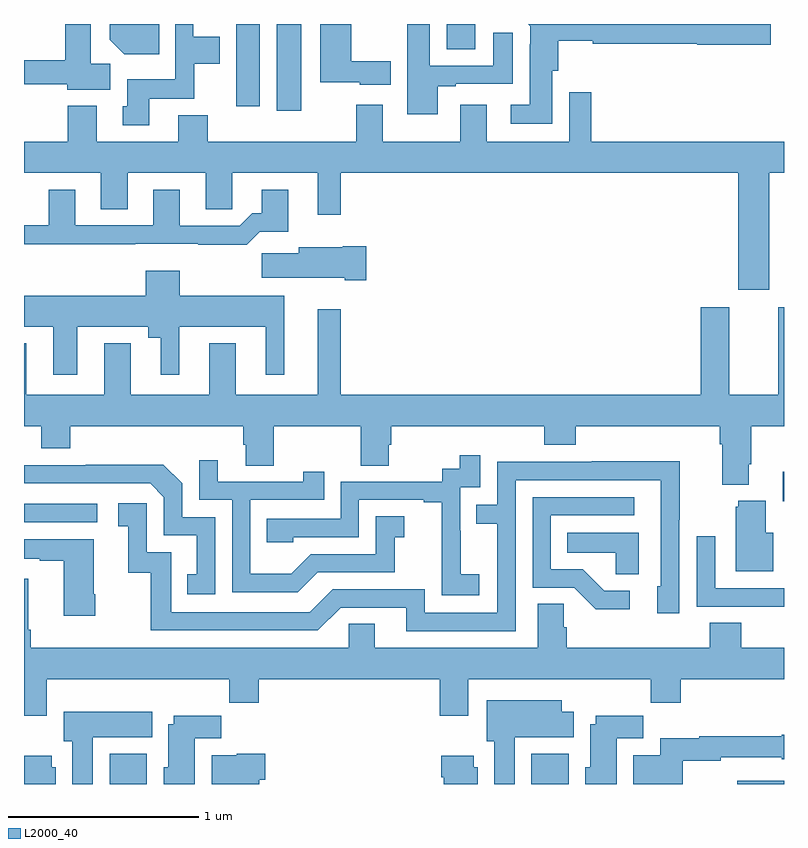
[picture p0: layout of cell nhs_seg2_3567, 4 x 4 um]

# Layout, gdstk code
import gdstk
lib = gdstk.Library(unit=1e-6, precision=1e-09)
def R(c, l, rs):  # rectangles x0, y0, x1, y1
    for r in rs: c.add(gdstk.rectangle(r[:2], r[2:], *l))
def P(c, l, *ps):  # polygons
    for p in ps: c.add(gdstk.Polygon(p, *l))
L2000_40 = (2000, 40)

nhs_seg2_3567 = lib.new_cell('nhs_seg2_3567')
R(nhs_seg2_3567, L2000_40, [(299.45,597.8,299.647,597.958), (301.671,597.8,301.867,597.958), (302.755,597.8,303,597.816), (299,599.178,299.386,599.274), (302.993,599.287,303,599.443), (300.329,601.344,300.46,601.8), (300.116,601.368,300.241,601.8), (301.226,601.666,301.375,601.8)])
P(nhs_seg2_3567, L2000_40, [(299.455,601.592),(299.35,601.592),(299.35,601.8),(299.216,601.8),(299.216,601.61),(299,601.61),(299,601.482),(299.228,601.482),(299.228,601.454),(299.455,601.454)],
  [(299.659,601.406),(299.895,601.406),(299.895,601.592),(300.031,601.592),(300.031,601.732),(299.892,601.732),(299.892,601.8),(299.796,601.8),(299.796,601.51),(299.543,601.51),(299.543,601.368),(299.519,601.368),(299.519,601.266),(299.659,601.266)],
  [(301.177,601.473),(301.273,601.473),(301.273,601.485),(301.573,601.485),(301.573,601.753),(301.469,601.753),(301.469,601.581),(301.135,601.581),(301.135,601.8),(301.016,601.8),(301.016,601.326),(301.177,601.326)],
  [(301.78,601.554),(301.811,601.554),(301.811,601.711),(301.994,601.711),(301.994,601.696),(302.544,601.696),(302.544,601.691),(302.929,601.691),(302.929,601.8),(301.653,601.8),(301.665,601.788),(301.665,601.694),(301.661,601.694),(301.661,601.375),(301.563,601.375),(301.563,601.274),(301.78,601.274)],
  [(299.711,601.8),(299.45,601.8),(299.45,601.718),(299.528,601.64),(299.711,601.64)],
  [(300.931,601.603),(300.722,601.603),(300.722,601.8),(300.56,601.8),(300.56,601.493),(300.768,601.493),(300.768,601.481),(300.931,601.481)],
  [(299.405,600.826),(299.545,600.826),(299.545,601.016),(299.957,601.016),(299.957,600.826),(300.096,600.826),(300.096,601.016),(300.545,601.016),(300.545,600.795),(300.667,600.795),(300.667,601.016),(302.759,601.016),(302.759,600.402),(302.923,600.402),(302.923,601.016),(303,601.016),(303,601.18),(301.985,601.18),(301.985,601.441),(301.869,601.441),(301.869,601.18),(301.435,601.18),(301.435,601.375),(301.295,601.375),(301.295,601.18),(300.889,601.18),(300.889,601.375),(300.749,601.375),(300.749,601.18),(299.966,601.18),(299.966,601.321),(299.813,601.321),(299.813,601.18),(299.383,601.18),(299.383,601.369),(299.231,601.369),(299.231,601.18),(299,601.18),(299,601.016),(299.405,601.016)],
  [(300.242,600.707),(300.391,600.707),(300.391,600.928),(300.251,600.928),(300.251,600.805),(300.202,600.805),(300.135,600.738),(299.821,600.738),(299.821,600.928),(299.681,600.928),(299.681,600.741),(299.269,600.741),(299.269,600.928),(299.129,600.928),(299.129,600.741),(299,600.741),(299,600.64),(299.585,600.64),(299.585,600.644),(299.917,600.644),(299.917,600.638),(300.173,600.638)],
  [(300.802,600.63),(300.678,600.63),(300.678,600.625),(300.446,600.625),(300.446,600.593),(300.252,600.593),(300.252,600.464),(300.689,600.464),(300.689,600.452),(300.802,600.452)],
  [(299.281,600.206),(299.654,600.206),(299.654,600.149),(299.72,600.149),(299.72,599.955),(299.818,599.955),(299.818,600.206),(300.272,600.206),(300.272,599.955),(300.37,599.955),(300.37,600.37),(299.82,600.37),(299.82,600.502),(299.642,600.502),(299.642,600.37),(299,600.37),(299,600.206),(299.153,600.206),(299.153,599.955),(299.281,599.955)],
  [(302.815,599.482),(302.828,599.482),(302.828,599.684),(303,599.684),(303,600.31),(302.969,600.31),(302.969,599.848),(302.713,599.848),(302.713,600.31),(302.561,600.31),(302.561,599.848),(300.667,599.848),(300.667,600.298),(300.545,600.298),(300.545,599.848),(300.115,599.848),(300.115,600.121),(299.975,600.121),(299.975,599.848),(299.563,599.848),(299.563,600.121),(299.423,600.121),(299.423,599.848),(299.011,599.848),(299.011,600.121),(299,600.121),(299,599.684),(299.09,599.684),(299.09,599.567),(299.243,599.567),(299.243,599.684),(300.155,599.684),(300.155,599.586),(300.167,599.586),(300.167,599.476),(300.315,599.476),(300.315,599.684),(300.772,599.684),(300.772,599.476),(300.919,599.476),(300.919,599.586),(300.932,599.586),(300.932,599.684),(301.739,599.684),(301.739,599.585),(301.904,599.585),(301.904,599.684),(302.663,599.684),(302.663,599.588),(302.675,599.588),(302.675,599.375),(302.815,599.375)],
  [(301.396,598.903),(301.298,598.903),(301.298,599.132),(301.296,599.132),(301.296,599.361),(301.401,599.361),(301.401,599.53),(301.293,599.53),(301.293,599.46),(301.2,599.46),(301.2,599.391),(300.666,599.391),(300.666,599.196),(300.277,599.196),(300.277,599.073),(300.417,599.073),(300.417,599.1),(300.762,599.1),(300.762,599.295),(301.103,599.295),(301.103,599.283),(301.199,599.283),(301.199,598.999),(301.198,598.999),(301.198,598.793),(301.396,598.793)],
  [(300.547,598.914),(300.951,598.914),(300.951,599.099),(301,599.099),(301,599.209),(300.852,599.209),(300.852,599.01),(300.51,599.01),(300.406,598.906),(300.192,598.906),(300.192,599.295),(300.581,599.295),(300.581,599.443),(300.47,599.443),(300.47,599.391),(300.019,599.391),(300.019,599.503),(299.922,599.503),(299.922,599.295),(300.096,599.295),(300.096,598.809),(300.442,598.809)],
  [(301.587,599.4),(302.352,599.4),(302.352,598.842),(302.333,598.842),(302.333,598.698),(302.448,598.698),(302.448,599.191),(302.451,599.191),(302.451,599.498),(301.987,599.498),(301.987,599.496),(301.491,599.496),(301.491,599.271),(301.381,599.271),(301.381,599.17),(301.491,599.17),(301.491,598.701),(301.11,598.701),(301.11,598.824),(300.624,598.824),(300.504,598.704),(299.775,598.704),(299.775,599.019),(299.646,599.019),(299.646,599.278),(299.496,599.278),(299.496,599.157),(299.549,599.157),(299.549,598.911),(299.667,598.911),(299.667,598.608),(300.546,598.608),(300.666,598.728),(301.013,598.728),(301.013,598.605),(301.587,598.605)],
  [(300.006,599.205),(299.832,599.205),(299.832,599.382),(299.734,599.48),(299.326,599.48),(299.326,599.478),(299,599.478),(299,599.382),(299.664,599.382),(299.736,599.31),(299.736,599.109),(299.909,599.109),(299.909,598.905),(299.86,598.905),(299.86,598.8),(300.006,598.8)],
  [(302.188,598.818),(302.053,598.818),(301.942,598.929),(301.773,598.929),(301.773,599.214),(302.212,599.214),(302.212,599.31),(301.677,599.31),(301.677,598.833),(301.896,598.833),(302.009,598.721),(302.188,598.721)],
  [(302.944,599.122),(302.905,599.122),(302.905,599.29),(302.759,599.29),(302.759,599.259),(302.747,599.259),(302.747,598.919),(302.944,598.919)],
  [(302.236,599.122),(301.858,599.122),(301.858,599.018),(302.115,599.018),(302.115,598.903),(302.236,598.903)],
  [(303,598.83),(302.637,598.83),(302.637,599.104),(302.541,599.104),(302.541,598.734),(302.857,598.734),(302.857,598.733),(303,598.733)],
  [(299.376,598.798),(299.368,598.798),(299.368,599.089),(299,599.089),(299,598.985),(299.084,598.985),(299.084,598.975),(299.21,598.975),(299.21,598.686),(299.376,598.686)],
  [(302.609,598.649),(302.609,598.516),(301.856,598.516),(301.856,598.625),(301.842,598.625),(301.842,598.748),(301.703,598.748),(301.703,598.516),(300.847,598.516),(300.847,598.643),(300.708,598.643),(300.708,598.516),(299.036,598.516),(299.036,598.612),(299.023,598.612),(299.023,598.879),(299,598.879),(299,598.158),(299.119,598.158),(299.119,598.352),(300.079,598.352),(300.079,598.228),(300.236,598.228),(300.236,598.352),(301.187,598.352),(301.187,598.158),(301.339,598.158),(301.339,598.352),(302.299,598.352),(302.299,598.228),(302.456,598.228),(302.456,598.352),(303,598.352),(303,598.516),(302.774,598.516),(302.774,598.649)],
  [(301.582,598.046),(301.894,598.046),(301.894,598.18),(301.831,598.18),(301.831,598.24),(301.436,598.24),(301.436,598.026),(301.475,598.026),(301.475,597.8),(301.582,597.8)],
  [(299.362,598.046),(299.674,598.046),(299.674,598.18),(299.21,598.18),(299.21,598.026),(299.255,598.026),(299.255,597.8),(299.362,597.8)],
  [(299.899,598.04),(300.038,598.04),(300.038,598.159),(299.789,598.159),(299.789,598.114),(299.759,598.114),(299.759,597.888),(299.735,597.888),(299.735,597.8),(299.899,597.8)],
  [(302.119,598.04),(302.258,598.04),(302.258,598.158),(302.009,598.158),(302.009,598.114),(301.979,598.114),(301.979,597.888),(301.955,597.888),(301.955,597.8),(302.119,597.8)],
  [(302.466,597.922),(302.666,597.922),(302.666,597.942),(302.988,597.942),(302.988,597.929),(303,597.929),(303,598.059),(302.988,598.059),(302.988,598.051),(302.554,598.051),(302.554,598.04),(302.348,598.04),(302.348,597.952),(302.207,597.952),(302.207,597.8),(302.466,597.8)],
  [(300.238,597.822),(300.269,597.822),(300.269,597.958),(300.12,597.958),(300.12,597.952),(299.987,597.952),(299.987,597.8),(300.238,597.8)],
  [(299.167,597.888),(299.146,597.888),(299.146,597.949),(299,597.949),(299,597.8),(299.167,597.8)],
  [(301.387,597.888),(301.366,597.888),(301.366,597.949),(301.196,597.949),(301.196,597.836),(301.208,597.836),(301.208,597.8),(301.387,597.8)])

lib.write_gds('nhs_seg2_3567.gds')
